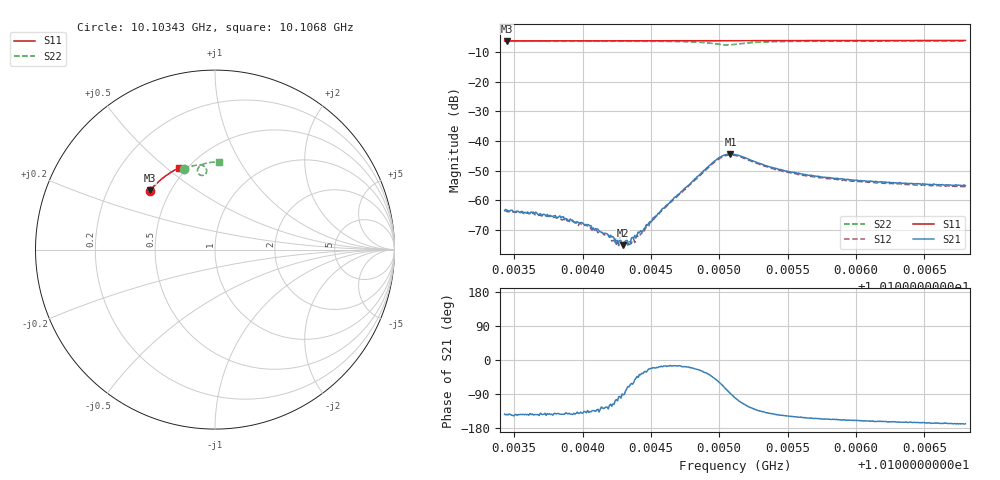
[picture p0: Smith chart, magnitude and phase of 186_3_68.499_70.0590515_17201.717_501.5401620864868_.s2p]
#  HZ  S  RI  R  50.00
! Rohde & Schwarz Vector Network Analyzer
! Rohde-Schwarz,ZNB20-2Port,1311601062101988,3.16
! Created: UTC 3/20/2024, 5:12:03 PM
! freq[Hz]  re:S11  im:S11  re:S21  im:S21  re:S12  im:S12  re:S22  im:S22
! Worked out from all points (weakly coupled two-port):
!   401 points, 10.10343 GHz to 10.1068 GHz, reference 50 ohm
!   highest |S21| = -44.34 dB at 10.10508 GHz (marker M1); lowest = -75.2 dB at 10.1043 GHz (marker M2)
!   lowest |S11| = -6.2 dB at 10.10345 GHz (marker M3), VSWR 2.91, Z = 19.4 + j16.8 ohm
!   |S11| at or under -10 dB: nowhere
!   |S22| runs from -7.6 to -6.2 dB; largest |S21 - S12| = 0.00065
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1.010343e10  -0.362 0.3291  -0.000538 -0.000406  -0.000503 -0.000435  -0.1741 0.4488
1.0103447e10  -0.3613 0.3297  -0.000547 -0.000407  -0.000495 -0.000418  -0.173 0.4492
1.0103598e10  -0.3554 0.337  -0.000486 -0.000358  -0.000475 -0.00043  -0.1635 0.4533
1.0103641e10  -0.3536 0.339  -0.000517 -0.000357  -0.000466 -0.000416  -0.161 0.4543
1.0103843e10  -0.3453 0.3481  -0.000405 -0.000304  -0.000349 -0.000324  -0.1478 0.4591
1.0103994e10  -0.339 0.3547  -0.000324 -0.000269  -0.000251 -0.000283  -0.1375 0.4626
1.0104188e10  -0.3308 0.3633  -0.000164 -0.000202  -0.000102 -0.000236  -0.1236 0.4665
1.010423e10  -0.3288 0.3649  -0.000104 -0.000206  -8.26e-05 -0.00019  -0.1205 0.4673
1.0104247e10  -0.3282 0.3657  -5.66e-05 -0.00022  -3.47e-05 -0.000177  -0.1192 0.4678
1.0104264e10  -0.3277 0.3664  -2.29e-05 -0.000183  -2.77e-05 -0.000169  -0.1178 0.468
1.0104298e10  -0.326 0.3679  -5.47e-06 -0.000173  1.88e-05 -0.000167  -0.1153 0.4686
1.0104348e10  -0.3238 0.3699  7.51e-05 -0.000165  0.000117 -0.000162  -0.1112 0.4693
1.0104399e10  -0.3216 0.3721  0.00019 -0.000179  0.000196 -0.000165  -0.1071 0.4701
1.0104559e10  -0.3144 0.3787  0.000581 -0.000183  0.000563 -0.000145  -0.0926 0.4716
1.0104964e10  -0.2956 0.3946  0.00305 -0.00339  0.00321 -0.00295  -0.0464 0.4365
1.0105023e10  -0.2928 0.3966  0.00223 -0.00515  0.00262 -0.0047  -0.0558 0.4188
1.0105082e10  -0.2901 0.3986  0.000204 -0.00607  0.000717 -0.00577  -0.0769 0.4135
1.0105115e10  -0.2888 0.4  -0.000999 -0.00584  -0.000402 -0.0057  -0.0876 0.4183
1.0105393e10  -0.2755 0.4105  -0.00278 -0.00217  -0.00253 -0.00232  -0.083 0.4667
1.010568e10  -0.2613 0.4206  -0.00234 -0.00115  -0.00212 -0.00135  -0.0576 0.4792
1.0106245e10  -0.2322 0.4387  -0.00193 -0.000579  -0.00177 -0.000735  -0.0156 0.4868
1.0106801e10  -0.2027 0.4546  -0.00173 -0.000354  -0.00162 -0.000492  0.022 0.4887
